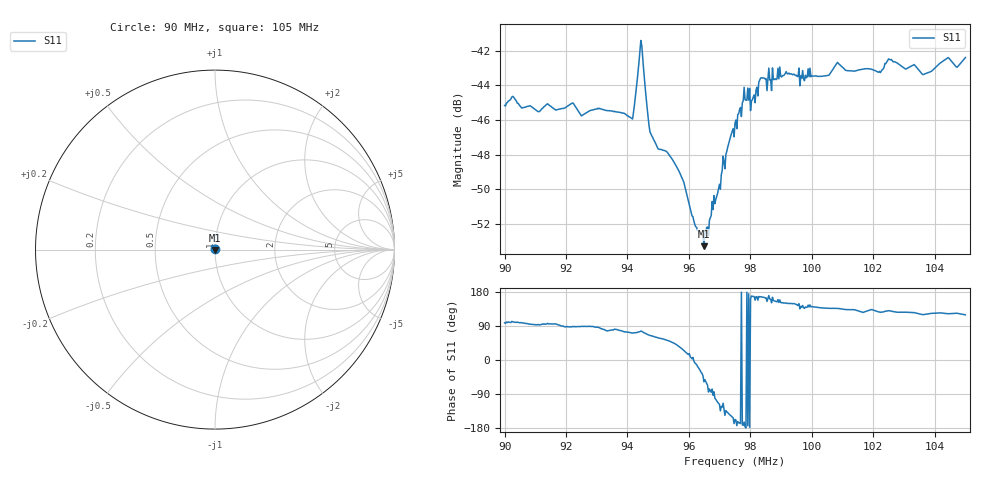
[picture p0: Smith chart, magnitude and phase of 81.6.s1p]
# HZ S RI R 50
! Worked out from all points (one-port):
!   505 points, 90 MHz to 105 MHz, reference 50 ohm
!   lowest |S11| = -53.3 dB at 96.49 MHz (marker M1), VSWR 1.00, Z = 50.1 - j0.183 ohm
!   |S11| at or under -10 dB: start of sweep to end of sweep
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9e7  -0.000787 0.00546
9.026786e7  -0.00107 0.00576
9.107143e7  -0.000269 0.0053
9.187501e7  3.47e-05 0.00541
9.375001e7  0.00108 0.00516
9.416668e7  0.00162 0.00478
9.443454e7  0.00202 0.00825
9.449406e7  0.00209 0.00729
9.467263e7  0.00202 0.00468
9.476192e7  0.002 0.00411
9.562502e7  0.00284 0.00228
9.622026e7  0.00243 -0.000425
9.648812e7  0.00117 -0.00183
9.750002e7  -0.00452 -0.00192
9.779764e7  -0.00597 -0.00176
9.80655e7  -0.00561 0.00119
9.836312e7  -0.00646 0.00152
9.937503e7  -0.00576 0.00354
1.00506e8  -0.00489 0.00463
1.008334e8  -0.00532 0.00506
1.0125e8  -0.00472 0.0051
1.022024e8  -0.00416 0.00553
1.025298e8  -0.00479 0.00576
1.03125e8  -0.00415 0.00573
1.036608e8  -0.00342 0.00587
1.044048e8  -0.00404 0.00637
1.047322e8  -0.0039 0.00595
1.05e8  -0.0037 0.00662
